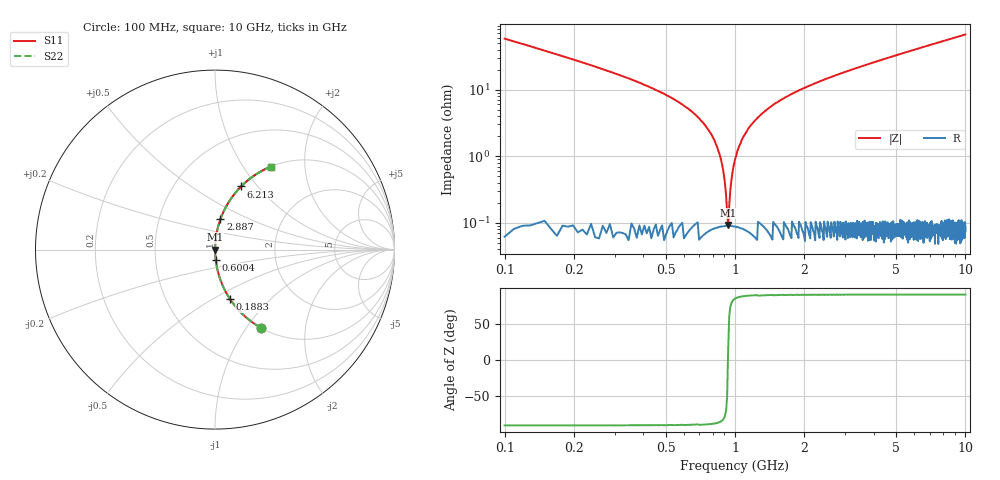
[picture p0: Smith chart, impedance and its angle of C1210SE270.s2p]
! AVX Thin Film Operation		Date: April 2012
! Description: Accu-P® Series, Thin Film, SMD, RF Capacitor
! Part Number: 12101J270FBTTR
!	100	MHz	-	10.05	GHz
!	Serial	Measurements
#	MHZ	S	MA	R	50
!	S11	S21	S12	S22
!	dB	Phase	dB	Phase	dB	Phase	dB	Phase
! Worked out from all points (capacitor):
!   1010 points, 100 MHz to 10 GHz, reference 50 ohm
!   read as one part in series: C = 27 pF near 149.1 MHz
!   lowest |Z| = 92.8 mohm at 934 MHz (marker M1)
!   series resonance near 932.3 MHz, so ESL is about 1.1 nH
!   S11 on the Smith chart (normalised r, x): 100 MHz: 1.00, -1.17; 188.3 MHz: 1.00, -0.60; 600.4 MHz: 1.00, -0.11; 2.887 GHz: 1.00, +0.35; 6.213 GHz: 1.00, +0.82; 10 GHz: 1.00, +1.35
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100  0.503 -59.7  0.864 30.2  0.864 30.2  0.503 -59.7
188.305  0.287 -73.1  0.957 16.7  0.957 16.7  0.287 -73.1
345.292  0.146 -81.3  0.989 8.4  0.989 8.4  0.146 -81.3
600.396  0.057 -85.9  0.998 3.3  0.998 3.3  0.057 -85.9
718.137  0.033 -86.7  0.999 1.9  0.999 1.9  0.033 -86.7
806.442  0.018 -86.5  0.999 1.1  0.999 1.1  0.018 -86.5
855.5  0.011 -85.2  0.999 0.6  0.999 0.6  0.011 -85.2
894.747  0.00526 -81.0  0.999 0.3  0.999 0.3  0.00526 -81.0
933.994  0.00083 15.5  0.999 -0.0  0.999 -0.0  0.00083 15.5
963.429  0.00422 78.8  0.999 -0.2  0.999 -0.2  0.00422 78.8
1002.676  0.00923 84.5  0.999 -0.5  0.999 -0.5  0.00923 84.5
1041.923  0.014 85.9  0.999 -0.8  0.999 -0.8  0.014 85.9
1169.475  0.029 86.8  0.999 -1.7  0.999 -1.7  0.029 86.8
1424.579  0.055 86.0  0.998 -3.2  0.998 -3.2  0.055 86.0
1758.176  0.085 84.6  0.996 -4.9  0.996 -4.9  0.085 84.6
2886.521  0.173 79.8  0.984 -9.9  0.984 -9.9  0.173 79.8
3406.541  0.209 77.7  0.977 -12.1  0.977 -12.1  0.209 77.7
5054.906  0.314 71.6  0.949 -18.3  0.949 -18.3  0.314 71.6
6212.686  0.381 67.5  0.924 -22.4  0.924 -22.4  0.381 67.5
6703.271  0.407 65.9  0.913 -24.0  0.913 -24.0  0.407 65.9
8351.635  0.488 60.7  0.872 -29.2  0.872 -29.2  0.488 60.7
10000  0.558 56.0  0.829 -33.9  0.829 -33.9  0.558 56.0
